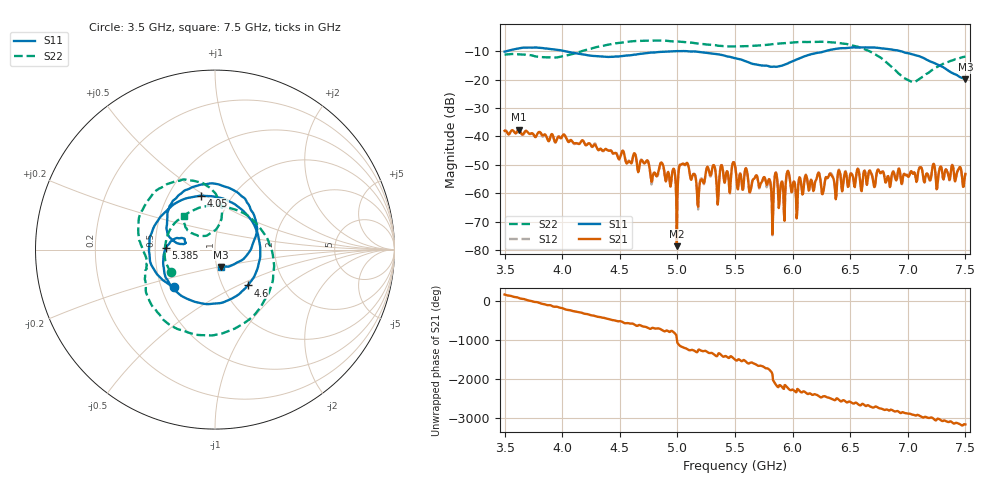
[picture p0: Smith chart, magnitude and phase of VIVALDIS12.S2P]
!Agilent Technologies,E5071B,MY42403545,A.09.10
!Date: Thu Jul 11 05:21:55 2019
!Data & Calibration Information:
!Freq	S11:SOLT2(ON)	S21:SOLT2(ON)	S12:SOLT2(ON)	S22:SOLT2(ON)
# Hz S dB R 50
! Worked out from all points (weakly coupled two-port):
!   801 points, 3.5 GHz to 7.5 GHz, reference 50 ohm
!   highest |S21| = -37.65 dB at 3.625 GHz (marker M1); lowest = -78.7 dB at 4.995 GHz (marker M2)
!   lowest |S11| = -19.8 dB at 7.5 GHz (marker M3), VSWR 1.23, Z = 52.1 - j10.3 ohm
!   |S11| at or under -10 dB: 4.024 GHz to 4.964 GHz (940.1 MHz wide, 20.9 % of centre); 5.091 GHz to 6.28 GHz (1.189 GHz wide, 20.9 % of centre); 6.94 GHz to end of sweep (the widest 3 of 4)
!   |S22| runs from -20.9 to -6.2 dB; largest |S21 - S12| = 0.00061
!   S11 on the Smith chart (normalised r, x): 3.5 GHz: 0.58, -0.27; 4.05 GHz: 0.72, +0.48; 4.6 GHz: 1.31, -0.56; 5.385 GHz: 0.57, +0.01; 7.5 GHz: 1.04, -0.21
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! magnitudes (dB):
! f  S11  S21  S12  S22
! 3.5 GHz  -10.1  -38.1  -38.0  -11.2
! 3.625 GHz  -9.0  -37.7  -37.4  -11.1
! 4.05 GHz  -10.2  -41.8  -41.6  -11.4
! 4.17 GHz  -11.1  -41.5  -41.6  -9.9
! 4.6 GHz  -11.3  -49.5  -49.6  -6.5
! 4.835 GHz  -10.3  -52.4  -53.1  -6.2
! 4.995 GHz  -9.9  -78.7  -75.3  -6.5
! 5.04 GHz  -9.9  -49.7  -49.5  -6.7
! 5.18 GHz  -10.2  -64.8  -65.8  -7.3
! 5.26 GHz  -10.6  -50.7  -51.0  -7.6
! 5.35 GHz  -11.0  -64.0  -64.1  -8.0
! 5.385 GHz  -11.3  -50.2  -50.1  -8.1
! 5.5 GHz  -12.4  -50.3  -50.2  -8.3
! 5.785 GHz  -15.2  -56.0  -56.3  -7.7
! 5.82 GHz  -15.4  -63.8  -64.0  -7.5
! 5.925 GHz  -14.8  -67.3  -66.5  -7.1
! 5.96 GHz  -14.3  -52.1  -52.3  -7.0
! 6.025 GHz  -13.1  -58.5  -58.6  -6.8
! 6.17 GHz  -11.0  -56.6  -56.3  -6.7
! 6.835 GHz  -9.2  -54.6  -54.4  -14.6
! 7.05 GHz  -11.2  -52.9  -52.9  -20.9
! 7.5 GHz  -19.8  -53.2  -53.1  -11.8
